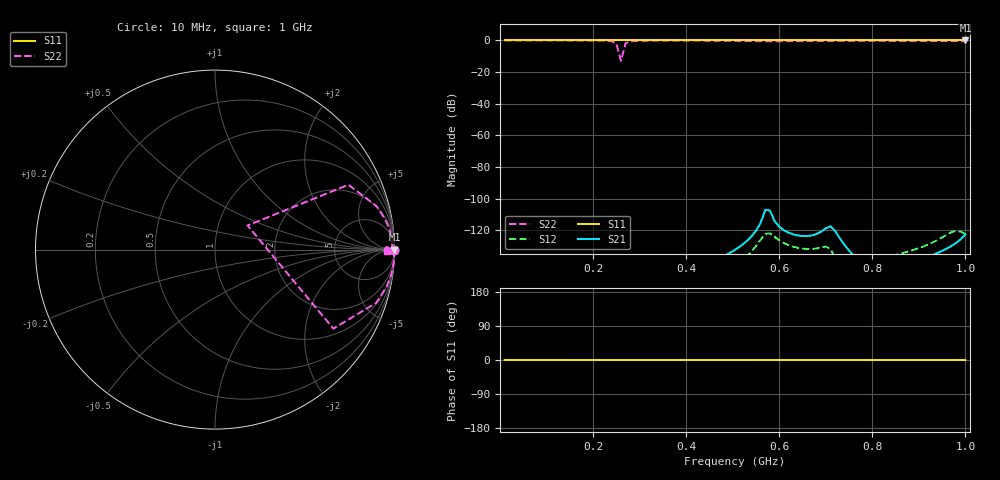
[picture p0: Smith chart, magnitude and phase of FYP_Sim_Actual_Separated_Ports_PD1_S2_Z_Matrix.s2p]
! Touchstone file from project FYP_Sim_Actual_Separated_Ports
! Exported from HFSS 13.0.2
# GHZ Z MA R 50.000000
! Terminal data exported
! Port[1] = PD1_Void_Port_T1
! Port[2] = Radiating_Plate_T1
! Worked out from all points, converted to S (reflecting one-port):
!   100 points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, 10 MHz to 1 GHz, reference 50 ohm
!   lowest |S11| = 0.0 dB at 1 GHz (marker M1)
!   phase of S11 starts at -0 deg and turns -0 deg over the sweep
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0.01  3.768e+05 -90.0  0.0001924 -51.5  0.0002204 -48.6  799.7 -89.2
0.12  3.164e+04 -90.1  0.0001912 46.8  0.0002164 39.7  56.2 -89.0
0.18  2.1e+04 -90.0  0.0003853 59.8  0.0004311 53.2  26.51 -88.4
0.21  1.799e+04 -90.0  0.0004992 69.2  0.0005055 68.5  15.84 -87.0
0.22  1.717e+04 -90.0  0.0005443 73.6  0.0005205 76.6  12.54 -86.0
0.23  1.642e+04 -90.0  0.0005931 79.6  0.0005264 88.0  9.31 -84.1
0.24  1.573e+04 -90.0  0.0006442 89.0  0.0005235 105.9  6.141 -80.1
0.25  1.51e+04 -90.0  0.0006962 106.6  0.0005394 136.7  3.084 -67.1
0.26  1.451e+04 -90.0  0.0007919 148.5  0.0007248 -175.2  1.433 15.8
0.27  1.398e+04 -90.0  0.001406 -115.0  0.001404 -122.8  4.019 66.4
0.28  1.347e+04 -90.0  0.001918 -28.2  0.002518 -70.9  7.32 74.8
0.29  1.301e+04 -90.0  0.002055 4.0  0.0031 -28.3  10.83 77.7
0.3  1.257e+04 -90.0  0.002341 16.9  0.003252 -2.8  14.55 78.9
0.32  1.179e+04 -90.0  0.003486 25.3  0.003728 22.0  22.82 79.0
0.34  1.109e+04 -90.0  0.00598 23.4  0.004858 33.4  32.76 77.4
0.41  9195 -90.0  0.0448 -78.5  0.04192 -1.8  98.53 48.8
0.51  7390 -90.0  0.05457 -174.5  0.01624 75.7  53.79 -21.9
0.58  6497 -90.0  0.5043 -35.8  0.09668 -45.9  35.85 -0.2
0.62  6077 -90.0  0.1018 -1.7  0.04121 -93.3  38.78 13.4
0.67  5622 -90.0  0.09678 -5.7  0.03611 -89.7  48.86 19.2
0.84  4483 -90.0  0.005189 -26.1  0.02075 -150.7  59.69 -8.5
1  3765 -90.0  0.06826 -17.0  0.07024 -33.8  47.35 -8.1
